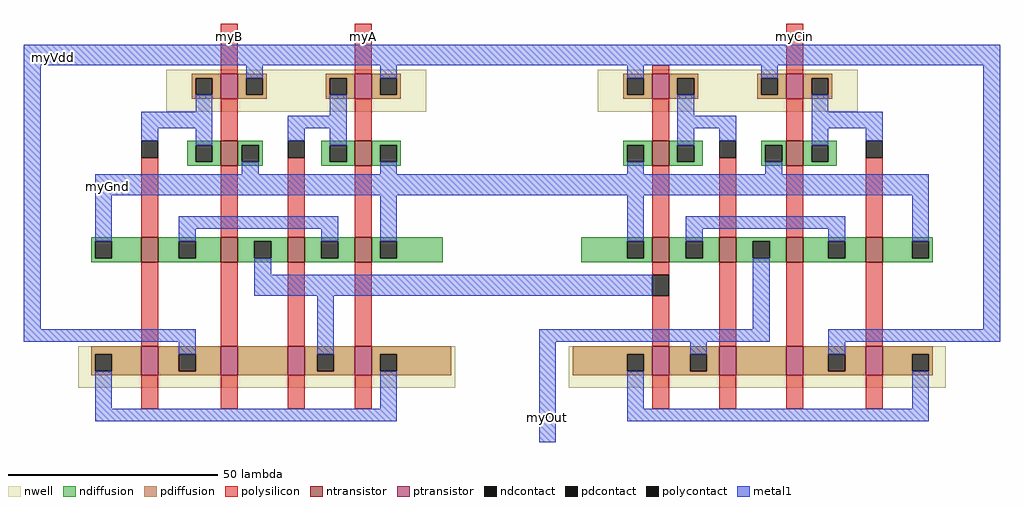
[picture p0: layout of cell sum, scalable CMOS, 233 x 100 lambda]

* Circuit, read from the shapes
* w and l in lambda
.subckt sum myA myB myCin myGnd myOut myVdd
M1 n1 n2 myGnd VSUBS nfet w=6 l=4
M2 n3 myB n1 VSUBS nfet w=6 l=4
M3 myGnd myB n2 VSUBS nfet w=6 l=4
M4 n1 n4 n3 VSUBS nfet w=6 l=4
M5 myGnd myA n1 VSUBS nfet w=6 l=4
M6 myGnd myA n4 VSUBS nfet w=6 l=4
M7 n5 n3 myGnd VSUBS nfet w=6 l=4
M8 n6 n3 myGnd VSUBS nfet w=6 l=4
M9 myOut n6 n5 VSUBS nfet w=6 l=4
M10 n5 myCin myOut VSUBS nfet w=6 l=4
M11 n7 myCin myGnd VSUBS nfet w=6 l=4
M12 myGnd n7 n5 VSUBS nfet w=6 l=4
M13 myVdd n2 n8 n9 pfet w=7 l=4
M14 n10 myB myVdd n9 pfet w=7 l=4
M15 myVdd myB n2 n11 pfet w=6 l=4
M16 n3 n4 n10 n9 pfet w=7 l=4
M17 n8 myA n3 n9 pfet w=7 l=4
M18 myVdd myA n4 n11 pfet w=6 l=4
M19 myOut n3 n12 n13 pfet w=7 l=4
M20 n6 n3 myVdd n14 pfet w=6 l=4
M21 n15 n6 myOut n13 pfet w=7 l=4
M22 myVdd myCin n15 n13 pfet w=7 l=4
M23 n7 myCin myVdd n14 pfet w=6 l=4
M24 n12 n7 myVdd n13 pfet w=7 l=4
.ends

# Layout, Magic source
magic
tech scmos
<< nwell >>
rect -88 66 -26 76
rect 15 66 77 76
rect -109 0 -19 10
rect 8 0 98 10
<< polysilicon >>
rect -75 75 -71 87
rect -43 75 -39 87
rect 28 75 32 77
rect 60 75 64 87
rect -75 59 -71 69
rect -43 59 -39 69
rect 28 59 32 69
rect 60 59 64 69
rect -94 36 -90 55
rect -75 36 -71 53
rect -59 36 -55 55
rect -43 36 -39 53
rect 28 36 32 53
rect 44 36 48 55
rect 60 36 64 53
rect 79 36 83 55
rect -94 10 -90 30
rect -75 10 -71 30
rect -59 10 -55 30
rect -43 10 -39 30
rect 28 27 32 30
rect 28 10 32 22
rect 44 10 48 30
rect 60 10 64 30
rect 79 10 83 30
rect -94 -5 -90 3
rect -75 -5 -71 3
rect -59 -5 -55 3
rect -43 -5 -39 3
rect 28 -5 32 3
rect 44 -5 48 3
rect 60 -5 64 3
rect 79 -5 83 3
<< ndiffusion >>
rect -83 58 -75 59
rect -83 54 -81 58
rect -77 54 -75 58
rect -83 53 -75 54
rect -71 58 -65 59
rect -71 54 -70 58
rect -66 54 -65 58
rect -71 53 -65 54
rect -51 58 -43 59
rect -51 54 -49 58
rect -45 54 -43 58
rect -51 53 -43 54
rect -39 58 -32 59
rect -39 54 -37 58
rect -33 54 -32 58
rect -39 53 -32 54
rect 21 58 28 59
rect 21 54 22 58
rect 26 54 28 58
rect 21 53 28 54
rect 32 58 40 59
rect 32 54 34 58
rect 38 54 40 58
rect 32 53 40 54
rect 54 58 60 59
rect 54 54 55 58
rect 59 54 60 58
rect 54 53 60 54
rect 64 58 72 59
rect 64 54 66 58
rect 70 54 72 58
rect 64 53 72 54
rect -106 35 -94 36
rect -106 31 -105 35
rect -101 31 -94 35
rect -106 30 -94 31
rect -90 35 -75 36
rect -90 31 -85 35
rect -81 31 -75 35
rect -90 30 -75 31
rect -71 35 -59 36
rect -71 31 -67 35
rect -63 31 -59 35
rect -71 30 -59 31
rect -55 35 -43 36
rect -55 31 -51 35
rect -47 31 -43 35
rect -55 30 -43 31
rect -39 35 -22 36
rect -39 31 -37 35
rect -33 31 -22 35
rect -39 30 -22 31
rect 11 35 28 36
rect 11 31 22 35
rect 26 31 28 35
rect 11 30 28 31
rect 32 35 44 36
rect 32 31 36 35
rect 40 31 44 35
rect 32 30 44 31
rect 48 35 60 36
rect 48 31 52 35
rect 56 31 60 35
rect 48 30 60 31
rect 64 35 79 36
rect 64 31 70 35
rect 74 31 79 35
rect 64 30 79 31
rect 83 35 95 36
rect 83 31 90 35
rect 94 31 95 35
rect 83 30 95 31
<< pdiffusion >>
rect -82 74 -75 75
rect -82 70 -81 74
rect -77 70 -75 74
rect -82 69 -75 70
rect -71 74 -64 75
rect -71 70 -69 74
rect -65 70 -64 74
rect -71 69 -64 70
rect -50 74 -43 75
rect -50 70 -49 74
rect -45 70 -43 74
rect -50 69 -43 70
rect -39 74 -32 75
rect -39 70 -37 74
rect -33 70 -32 74
rect -39 69 -32 70
rect 21 74 28 75
rect 21 70 22 74
rect 26 70 28 74
rect 21 69 28 70
rect 32 74 39 75
rect 32 70 34 74
rect 38 70 39 74
rect 32 69 39 70
rect 53 74 60 75
rect 53 70 54 74
rect 58 70 60 74
rect 53 69 60 70
rect 64 74 71 75
rect 64 70 66 74
rect 70 70 71 74
rect 64 69 71 70
rect -106 8 -94 10
rect -106 4 -105 8
rect -101 4 -94 8
rect -106 3 -94 4
rect -90 8 -75 10
rect -90 4 -85 8
rect -81 4 -75 8
rect -90 3 -75 4
rect -71 3 -59 10
rect -55 8 -43 10
rect -55 4 -52 8
rect -48 4 -43 8
rect -55 3 -43 4
rect -39 8 -20 10
rect -39 4 -37 8
rect -33 4 -20 8
rect -39 3 -20 4
rect 9 8 28 10
rect 9 4 22 8
rect 26 4 28 8
rect 9 3 28 4
rect 32 8 44 10
rect 32 4 37 8
rect 41 4 44 8
rect 32 3 44 4
rect 48 3 60 10
rect 64 8 79 10
rect 64 4 70 8
rect 74 4 79 8
rect 64 3 79 4
rect 83 8 95 10
rect 83 4 90 8
rect 94 4 95 8
rect 83 3 95 4
<< metal1 >>
rect -122 77 111 82
rect -122 14 -118 77
rect -69 74 -65 77
rect -37 74 -33 77
rect 22 74 26 77
rect 54 74 58 77
rect -81 66 -77 70
rect -94 62 -77 66
rect -49 65 -45 70
rect -94 59 -90 62
rect -81 58 -77 62
rect -59 62 -45 65
rect -59 59 -55 62
rect -49 58 -45 62
rect 34 65 38 70
rect 66 66 70 70
rect 34 62 48 65
rect 34 58 38 62
rect -70 51 -66 54
rect -37 51 -33 54
rect 44 59 48 62
rect 66 62 83 66
rect 66 58 70 62
rect 79 59 83 62
rect 22 51 26 54
rect 55 51 59 54
rect -105 46 94 51
rect -105 35 -101 46
rect -85 38 -47 41
rect -85 35 -81 38
rect -51 35 -47 38
rect -37 35 -33 46
rect 22 35 26 46
rect 36 38 74 41
rect 36 35 40 38
rect 70 35 74 38
rect 90 35 94 46
rect -67 27 -63 31
rect -67 22 28 27
rect -122 11 -81 14
rect -85 8 -81 11
rect -52 8 -48 22
rect 52 14 56 31
rect 107 14 111 77
rect 1 11 56 14
rect 70 11 111 14
rect -105 -5 -101 4
rect -37 -5 -33 4
rect -105 -8 -33 -5
rect 1 -13 5 11
rect 37 8 41 11
rect 70 8 74 11
rect 22 -5 26 4
rect 90 -5 94 4
rect 22 -8 94 -5
<< ntransistor >>
rect -75 53 -71 59
rect -43 53 -39 59
rect 28 53 32 59
rect 60 53 64 59
rect -94 30 -90 36
rect -75 30 -71 36
rect -59 30 -55 36
rect -43 30 -39 36
rect 28 30 32 36
rect 44 30 48 36
rect 60 30 64 36
rect 79 30 83 36
<< ptransistor >>
rect -75 69 -71 75
rect -43 69 -39 75
rect 28 69 32 75
rect 60 69 64 75
rect -94 3 -90 10
rect -75 3 -71 10
rect -59 3 -55 10
rect -43 3 -39 10
rect 28 3 32 10
rect 44 3 48 10
rect 60 3 64 10
rect 79 3 83 10
<< polycontact >>
rect -94 55 -90 59
rect -59 55 -55 59
rect 44 55 48 59
rect 79 55 83 59
rect 28 22 32 27
<< ndcontact >>
rect -81 54 -77 58
rect -70 54 -66 58
rect -49 54 -45 58
rect -37 54 -33 58
rect 22 54 26 58
rect 34 54 38 58
rect 55 54 59 58
rect 66 54 70 58
rect -105 31 -101 35
rect -85 31 -81 35
rect -67 31 -63 35
rect -51 31 -47 35
rect -37 31 -33 35
rect 22 31 26 35
rect 36 31 40 35
rect 52 31 56 35
rect 70 31 74 35
rect 90 31 94 35
<< pdcontact >>
rect -81 70 -77 74
rect -69 70 -65 74
rect -49 70 -45 74
rect -37 70 -33 74
rect 22 70 26 74
rect 34 70 38 74
rect 54 70 58 74
rect 66 70 70 74
rect -105 4 -101 8
rect -85 4 -81 8
rect -52 4 -48 8
rect -37 4 -33 8
rect 22 4 26 8
rect 37 4 41 8
rect 70 4 74 8
rect 90 4 94 8
<< labels >>
rlabel metal1 -115 79 -115 79 1 myVdd
rlabel metal1 -102 48 -102 48 1 myGnd
rlabel polysilicon -73 84 -73 84 5 myB
rlabel polysilicon -41 84 -41 84 5 myA
rlabel polysilicon 62 84 62 84 5 myCin
rlabel metal1 3 -7 3 -7 1 myOut
<< end >>
